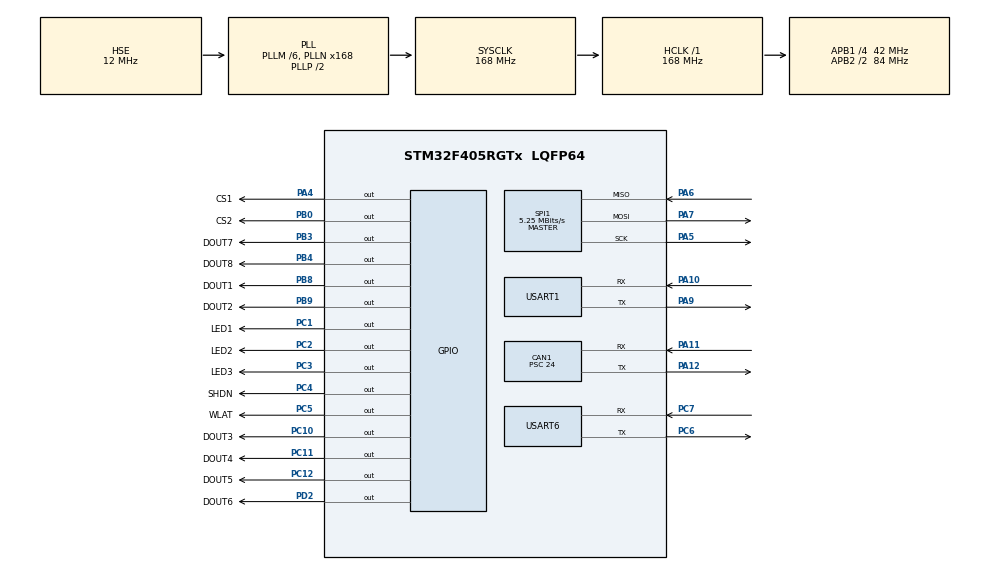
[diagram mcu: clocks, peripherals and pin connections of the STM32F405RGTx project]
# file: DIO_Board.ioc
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CAN1.BS2=CAN_BS2_2TQ
CAN1.CalculateTimeQuantum=571.4285714285714
CAN1.Prescaler=24
CAN1.SJW=CAN_SJW_4TQ
Mcu.Family=STM32F4
Mcu.Name=STM32F405RGTx
Mcu.Package=LQFP64
NVIC.CAN1_RX0_IRQn=true\:0\:0\:false\:false\:true\:true
NVIC.PriorityGroup=NVIC_PRIORITYGROUP_4
PA10.Mode=Asynchronous
PA10.Signal=USART1_RX
PA11.Mode=Master
PA11.Signal=CAN1_RX
PA12.Mode=Master
PA12.Signal=CAN1_TX
PA4.GPIO_Label=CS1
PA4.GPIO_ModeDefaultOutputPP=GPIO_MODE_OUTPUT_PP
PA4.GPIO_PuPd=GPIO_NOPULL
PA4.GPIO_Speed=GPIO_SPEED_FREQ_LOW
PA4.PinState=GPIO_PIN_RESET
PA4.Signal=GPIO_Output
PA5.Mode=Full_Duplex_Master
PA5.Signal=SPI1_SCK
PA6.Mode=Full_Duplex_Master
PA6.Signal=SPI1_MISO
PA7.Mode=Full_Duplex_Master
PA7.Signal=SPI1_MOSI
PA9.Mode=Asynchronous
PA9.Signal=USART1_TX
PB0.GPIO_Label=CS2
PB0.GPIO_ModeDefaultOutputPP=GPIO_MODE_OUTPUT_PP
PB0.GPIO_PuPd=GPIO_NOPULL
PB0.GPIO_Speed=GPIO_SPEED_FREQ_LOW
PB0.PinState=GPIO_PIN_RESET
PB0.Signal=GPIO_Output
PB3.GPIO_Label=DOUT7
PB3.GPIO_ModeDefaultOutputPP=GPIO_MODE_OUTPUT_PP
PB3.GPIO_PuPd=GPIO_NOPULL
PB3.GPIO_Speed=GPIO_SPEED_FREQ_LOW
PB3.PinState=GPIO_PIN_RESET
PB3.Signal=GPIO_Output
PB4.GPIO_Label=DOUT8
PB4.GPIO_ModeDefaultOutputPP=GPIO_MODE_OUTPUT_PP
PB4.GPIO_PuPd=GPIO_NOPULL
PB4.GPIO_Speed=GPIO_SPEED_FREQ_LOW
PB4.PinState=GPIO_PIN_RESET
PB4.Signal=GPIO_Output
PB8.GPIO_Label=DOUT1
PB8.GPIO_ModeDefaultOutputPP=GPIO_MODE_OUTPUT_PP
PB8.GPIO_PuPd=GPIO_NOPULL
PB8.GPIO_Speed=GPIO_SPEED_FREQ_LOW
PB8.PinState=GPIO_PIN_RESET
PB8.Signal=GPIO_Output
PB9.GPIO_Label=DOUT2
PB9.GPIO_ModeDefaultOutputPP=GPIO_MODE_OUTPUT_PP
PB9.GPIO_PuPd=GPIO_NOPULL
PB9.GPIO_Speed=GPIO_SPEED_FREQ_LOW
PB9.PinState=GPIO_PIN_RESET
PB9.Signal=GPIO_Output
PC1.GPIO_Label=LED1
PC1.GPIO_ModeDefaultOutputPP=GPIO_MODE_OUTPUT_PP
PC1.GPIO_PuPd=GPIO_NOPULL
PC1.GPIO_Speed=GPIO_SPEED_FREQ_LOW
PC1.PinState=GPIO_PIN_RESET
PC1.Signal=GPIO_Output
PC10.GPIO_Label=DOUT3
PC10.GPIO_ModeDefaultOutputPP=GPIO_MODE_OUTPUT_PP
PC10.GPIO_PuPd=GPIO_NOPULL
PC10.GPIO_Speed=GPIO_SPEED_FREQ_LOW
PC10.PinState=GPIO_PIN_RESET
PC10.Signal=GPIO_Output
PC11.GPIO_Label=DOUT4
PC11.GPIO_ModeDefaultOutputPP=GPIO_MODE_OUTPUT_PP
PC11.GPIO_PuPd=GPIO_NOPULL
PC11.GPIO_Speed=GPIO_SPEED_FREQ_LOW
PC11.PinState=GPIO_PIN_RESET
PC11.Signal=GPIO_Output
PC12.GPIO_Label=DOUT5
PC12.GPIO_ModeDefaultOutputPP=GPIO_MODE_OUTPUT_PP
PC12.GPIO_PuPd=GPIO_NOPULL
PC12.GPIO_Speed=GPIO_SPEED_FREQ_LOW
PC12.PinState=GPIO_PIN_RESET
PC12.Signal=GPIO_Output
PC2.GPIO_Label=LED2
PC2.GPIO_ModeDefaultOutputPP=GPIO_MODE_OUTPUT_PP
PC2.GPIO_PuPd=GPIO_NOPULL
PC2.GPIO_Speed=GPIO_SPEED_FREQ_LOW
PC2.PinState=GPIO_PIN_RESET
PC2.Signal=GPIO_Output
PC3.GPIO_Label=LED3
PC3.GPIO_ModeDefaultOutputPP=GPIO_MODE_OUTPUT_PP
PC3.GPIO_PuPd=GPIO_NOPULL
PC3.GPIO_Speed=GPIO_SPEED_FREQ_LOW
PC3.PinState=GPIO_PIN_RESET
PC3.Signal=GPIO_Output
PC4.GPIO_Label=SHDN
PC4.GPIO_ModeDefaultOutputPP=GPIO_MODE_OUTPUT_PP
PC4.GPIO_PuPd=GPIO_NOPULL
PC4.GPIO_Speed=GPIO_SPEED_FREQ_LOW
PC4.PinState=GPIO_PIN_RESET
PC4.Signal=GPIO_Output
PC5.GPIO_Label=WLAT
PC5.GPIO_ModeDefaultOutputPP=GPIO_MODE_OUTPUT_PP
PC5.GPIO_PuPd=GPIO_NOPULL
PC5.GPIO_Speed=GPIO_SPEED_FREQ_LOW
PC5.PinState=GPIO_PIN_RESET
PC5.Signal=GPIO_Output
PC6.Mode=Asynchronous
PC6.Signal=USART6_TX
PC7.Mode=Asynchronous
PC7.Signal=USART6_RX
PD2.GPIO_Label=DOUT6
PD2.GPIO_ModeDefaultOutputPP=GPIO_MODE_OUTPUT_PP
PD2.GPIO_PuPd=GPIO_NOPULL
PD2.GPIO_Speed=GPIO_SPEED_FREQ_LOW
PD2.PinState=GPIO_PIN_RESET
PD2.Signal=GPIO_Output
PH0-OSC_IN.Mode=HSE-External-Oscillator
PH0-OSC_IN.Signal=RCC_OSC_IN
PH1-OSC_OUT.Mode=HSE-External-Oscillator
PH1-OSC_OUT.Signal=RCC_OSC_OUT
ProjectManager.HeapSize=0x200
ProjectManager.StackSize=0x400
ProjectManager.TargetToolchain=EWARM V8
RCC.48MHZClocksFreq_Value=84000000
RCC.AHBFreq_Value=168000000
RCC.APB1CLKDivider=RCC_HCLK_DIV4
RCC.APB1Freq_Value=42000000
RCC.APB1TimFreq_Value=84000000
RCC.APB2CLKDivider=RCC_HCLK_DIV2
RCC.APB2Freq_Value=84000000
RCC.APB2TimFreq_Value=168000000
RCC.CortexFreq_Value=168000000
RCC.HCLKFreq_Value=168000000
RCC.HSE_VALUE=12000000
RCC.HSI_VALUE=16000000
RCC.LSE_VALUE=32768
RCC.PLLM=6
RCC.PLLN=168
RCC.PLLSourceVirtual=RCC_PLLSOURCE_HSE
RCC.SYSCLKFreq_VALUE=168000000
RCC.SYSCLKSource=RCC_SYSCLKSOURCE_PLLCLK
RCC.VCOOutputFreq_Value=336000000
SPI1.BaudRatePrescaler=SPI_BAUDRATEPRESCALER_16
SPI1.CalculateBaudRate=5.25 MBits/s
SPI1.Direction=SPI_DIRECTION_2LINES
SPI1.Mode=SPI_MODE_MASTER
SPI1.VirtualType=VM_MASTER
USART1.VirtualMode=VM_ASYNC
USART6.VirtualMode=VM_ASYNC
board=custom

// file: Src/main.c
/* USER CODE BEGIN Header */
/**
  ******************************************************************************
  * @file           : main.c
  * @brief          : Main program body
  ******************************************************************************
  ** This notice applies to any and all portions of this file
  * that are not between comment pairs USER CODE BEGIN and
  * USER CODE END. Other portions of this file, whether
  * inserted by the user or by software development tools
  * are owned by their respective copyright owners.
  *
  * COPYRIGHT(c) 2018 STMicroelectronics
  *
  * Redistribution and use in source and binary forms, with or without modification,
  * are permitted provided that the following conditions are met:
  *   1. Redistributions of source code must retain the above copyright notice,
  *      this list of conditions and the following disclaimer.
  *   2. Redistributions in binary form must reproduce the above copyright notice,
  *      this list of conditions and the following disclaimer in the documentation
  *      and/or other materials provided with the distribution.
  *   3. Neither the name of STMicroelectronics nor the names of its contributors
  *      may be used to endorse or promote products derived from this software
  *      without specific prior written permission.
  *
  * THIS SOFTWARE IS PROVIDED BY THE COPYRIGHT HOLDERS AND CONTRIBUTORS "AS IS"
  * AND ANY EXPRESS OR IMPLIED WARRANTIES, INCLUDING, BUT NOT LIMITED TO, THE
  * IMPLIED WARRANTIES OF MERCHANTABILITY AND FITNESS FOR A PARTICULAR PURPOSE ARE
  * DISCLAIMED. IN NO EVENT SHALL THE COPYRIGHT HOLDER OR CONTRIBUTORS BE LIABLE
  * FOR ANY DIRECT, INDIRECT, INCIDENTAL, SPECIAL, EXEMPLARY, OR CONSEQUENTIAL
  * DAMAGES (INCLUDING, BUT NOT LIMITED TO, PROCUREMENT OF SUBSTITUTE GOODS OR
  * SERVICES; LOSS OF USE, DATA, OR PROFITS; OR BUSINESS INTERRUPTION) HOWEVER
  * CAUSED AND ON ANY THEORY OF LIABILITY, WHETHER IN CONTRACT, STRICT LIABILITY,
  * OR TORT (INCLUDING NEGLIGENCE OR OTHERWISE) ARISING IN ANY WAY OUT OF THE USE
  * OF THIS SOFTWARE, EVEN IF ADVISED OF THE POSSIBILITY OF SUCH DAMAGE.
  *
  ******************************************************************************
  */
/* USER CODE END Header */

#include "main.h"

/* USER CODE BEGIN PTD */
enum _eENGINE_PROCESS {
	EGNP_NONE,
	EGNP_ACC,
	EGNP_WAIT1S,
	EGNP_AFTER_ON,
	EGNP_ON,
	EGNP_START,
	EGNP_AFTER_START,
	EGNP_MAX
};
/* USER CODE END PTD */

//#define USE_ENGINE_START
//#define USE_REMOTE_AUTECH

/* USER CODE BEGIN PD */
#define CANDRV_RX_BUF_CNT					20
#define DIO1_ON 				HAL_GPIO_WritePin(DOUT1_GPIO_Port,DOUT1_Pin,GPIO_PIN_SET);
#define DIO1_OFF 			HAL_GPIO_WritePin(DOUT1_GPIO_Port,DOUT1_Pin,GPIO_PIN_RESET);
#define DIO2_ON 				HAL_GPIO_WritePin(DOUT2_GPIO_Port,DOUT2_Pin,GPIO_PIN_SET);
#define DIO2_OFF 			HAL_GPIO_WritePin(DOUT2_GPIO_Port,DOUT2_Pin,GPIO_PIN_RESET);
#define DIO3_ON 				HAL_GPIO_WritePin(DOUT3_GPIO_Port,DOUT3_Pin,GPIO_PIN_SET);
#define DIO3_OFF 			HAL_GPIO_WritePin(DOUT3_GPIO_Port,DOUT3_Pin,GPIO_PIN_RESET);
#define DIO4_ON 				HAL_GPIO_WritePin(DOUT4_GPIO_Port,DOUT4_Pin,GPIO_PIN_SET);
#define DIO4_OFF 			HAL_GPIO_WritePin(DOUT4_GPIO_Port,DOUT4_Pin,GPIO_PIN_RESET);
#define DIO5_ON 				HAL_GPIO_WritePin(DOUT5_GPIO_Port,DOUT5_Pin,GPIO_PIN_SET);
#define DIO5_OFF 			HAL_GPIO_WritePin(DOUT5_GPIO_Port,DOUT5_Pin,GPIO_PIN_RESET);
#define DIO6_ON 				HAL_GPIO_WritePin(DOUT6_GPIO_Port,DOUT6_Pin,GPIO_PIN_SET);
#define DIO6_OFF 			HAL_GPIO_WritePin(DOUT6_GPIO_Port,DOUT6_Pin,GPIO_PIN_RESET);
#define DIO7_ON 				HAL_GPIO_WritePin(DOUT7_GPIO_Port,DOUT7_Pin,GPIO_PIN_SET);
#define DIO7_OFF 			HAL_GPIO_WritePin(DOUT7_GPIO_Port,DOUT7_Pin,GPIO_PIN_RESET);
#define DIO8_ON 				HAL_GPIO_WritePin(DOUT8_GPIO_Port,DOUT8_Pin,GPIO_PIN_SET);
#define DIO8_OFF 			HAL_GPIO_WritePin(DOUT8_GPIO_Port,DOUT8_Pin,GPIO_PIN_RESET);
//
#define LED_RED_OFF			HAL_GPIO_WritePin(LED3_GPIO_Port, LED3_Pin, GPIO_PIN_SET);
#define LED_RED_ON			HAL_GPIO_WritePin(LED3_GPIO_Port, LED3_Pin, GPIO_PIN_RESET);
#define LED_RED_TOG			HAL_GPIO_TogglePin(LED3_GPIO_Port, LED3_Pin);
#define LED_GREEN_OFF		HAL_GPIO_WritePin(LED1_GPIO_Port, LED1_Pin, GPIO_PIN_RESET);
#define LED_GREEN_ON		HAL_GPIO_WritePin(LED1_GPIO_Port, LED1_Pin, GPIO_PIN_SET);
#define LED_GREEN_TOG		HAL_GPIO_TogglePin(LED1_GPIO_Port, LED1_Pin);
#define LED_ORANGE_OFF		HAL_GPIO_WritePin(LED2_GPIO_Port, LED2_Pin, GPIO_PIN_RESET);
#define LED_ORANGE_ON		HAL_GPIO_WritePin(LED2_GPIO_Port, LED2_Pin, GPIO_PIN_SET);
#define LED_ORANGE_TOG		HAL_GPIO_TogglePin(LED2_GPIO_Port, LED2_Pin);

#define SID_R_REMOTE			0x18A
//

//#define _3STEP_TOGGLE_UP_SW_MASK			0x10
#define _3STEP_TOGGLE_UP_SW_MASK        0x08    // shjang
#define SAFETY_BAR_ON_MASK      		0x08

#define KEY_IN_MASK     				0x10    //shajng, for A
#define KEY_ACC_MASK   		 			0x20 // shjang, for B
#define KEY_ON_MASK  					0x40    // shjang, for C
#define KEY_IGNITION_MASK      			0x80    // shjang, for D

#define SW_S__ON_MASK					0x08	//pedal sw
#define SW_UP_ON_MASK					0x02	//horn
#define SW_DN_ON_MASK					0x04	//declation

//#define _2STEP_TOGGLE_UP_SW_MASK			0x40
//#define RIGHT_SIDE_PUSH_FR_SW_MASK		0x80

//#define RIGHT_SIDE_PUSH_RR_SW_MASK		0x04

/* USER CODE END PD */

CAN_HandleTypeDef hcan1;

SPI_HandleTypeDef hspi1;

UART_HandleTypeDef huart1;
UART_HandleTypeDef huart6;

void SystemClock_Config(void);
static void MX_GPIO_Init(void);
static void MX_CAN1_Init(void);
static void MX_USART1_UART_Init(void);
static void MX_USART6_UART_Init(void);
static void MX_SPI1_Init(void);
/* USER CODE BEGIN PFP */
void MCP41HV51_Control(uint8_t CH, uint8_t Value);
void MCP41HV51_DIO_Initialization(void);
void SPI1_CS1_Enable(void);
void SPI1_CS1_Disable(void);
void SPI1_CS2_Enable(void);
void SPI1_CS2_Disable(void);
void CAN1Tx(long cid, unsigned int txbyte, uint8_t * cdata);
/* USER CODE END PFP */

/* USER CODE BEGIN 0 */
//CAN_RxHeaderTypeDef	can1RxHeader;
//CAN_TxHeaderTypeDef	can1TxHeader;
//uint8_t	can1Rx0Data[8];
//uint32_t	can1TxMailBox;
//uint8_t	can1Tx0Data[8];
//uint8_t	Can1TxMsgBuff[8] = NULL;
volatile uint8_t	can1_rx0_flag = 0;
uint8_t spi_address;
struct _tagCAN_INFO {
	struct {
		CAN_RxHeaderTypeDef	header;
		uint8_t	data[8];
	}rx[CANDRV_RX_BUF_CNT];
	uint8_t rxHead;
	uint8_t rxTail;
	struct {
		CAN_TxHeaderTypeDef	header;
		uint8_t	data[8];
		uint8_t	msgBuff[8];
	}tx;
	uint32_t	TxMailBox;
}CANInfo;

struct _tagENGINE_PROCESS_INFO {
	uint8_t step;
	uint32_t onCnt;
	uint32_t time;
	uint8_t status;
}EgnInfo, AttInfo;
struct _tagPOTENTIONMETER_INFO {
	uint8_t step;
	uint32_t delayCnt;
}PtrMtrInfo;
uint32_t LED_RunCnt;

void CANDrv_Init(void)
{
	CAN_FilterTypeDef	canFilter1;

	// CAN1 Filter 설정
	canFilter1.FilterMaskIdHigh = 0x0000;
	canFilter1.FilterIdHigh = 0x00;
	canFilter1.FilterMaskIdLow = 0x0000;
	canFilter1.FilterIdLow = 0x00;
	canFilter1.FilterMode = CAN_FILTERMODE_IDMASK;
	canFilter1.FilterScale = CAN_FILTERSCALE_16BIT;
	canFilter1.FilterFIFOAssignment = CAN_FILTER_FIFO0;
	canFilter1.FilterBank = 0;
	canFilter1.FilterActivation = ENABLE;

	// CAN1 초기화
	HAL_CAN_ConfigFilter(&hcan1, &canFilter1);
	HAL_CAN_ActivateNotification(&hcan1, CAN_IT_RX_FIFO0_MSG_PENDING);
	HAL_CAN_Start(&hcan1);
 }

void Engine_Control(uint8_t data)
{
	if ( (data & 0xF0) > 0)  // status B, C, D
    {
          if (data&KEY_IN_MASK) {
              DIO1_OFF; //key acc
              DIO2_OFF; //key on
              DIO3_OFF; //key ignition
              EgnInfo.step = EGNP_NONE;
              EgnInfo.status = EGNP_NONE;
              AttInfo.status = EGNP_NONE;
          }
          if (data&KEY_ACC_MASK) {
              DIO1_ON; //key acc
              DIO2_OFF; //key on
              DIO3_OFF; //key ignition
              EgnInfo.status = EGNP_ACC;
          }
          if (data&KEY_ON_MASK) {
              DIO1_ON; //key acc
              DIO2_ON; //key on
              DIO3_OFF; //key ignition
              EgnInfo.status = EGNP_ON;
          }
          if (data&KEY_IGNITION_MASK && !(data&SAFETY_BAR_ON_MASK)) {
              DIO1_ON; //key acc
              DIO2_ON; //key on
              DIO3_ON; //key ignition
              EgnInfo.status = EGNP_START;
              EgnInfo.step = EGNP_START;
          }
    }

	//side bar
	if (data&SAFETY_BAR_ON_MASK) {
		DIO4_ON;
	}
	else {
		DIO4_OFF;
	}

    //3way Toggle check
    if (data&0x02) { // UP
    	if (EgnInfo.status == EGNP_START) {
        	AttInfo.status = EGNP_ON;
    	}
    }
}

void DIO_Control(uint8_t data)
{
#if 0
    if (data&SAFETY_BAR_ON_MASK) {
		DIO4_ON;
    }
	else {
		DIO4_OFF;
	}
#endif

    if (data&SW_UP_ON_MASK) {
		DIO5_ON;
    }
	else {
		DIO5_OFF;
	}

    if (data&SW_DN_ON_MASK) {
		DIO6_ON;
    }
	else {
		DIO6_OFF;
	}

    if (data&SW_S__ON_MASK) {
		DIO7_ON;
    }
	else {
		DIO7_OFF;
	}
}

//potentionmeter
void PtnMtr_Control(uint8_t data)
{
	/* if (data&RIGHT_SIDE_PUSH_RR_SW_MASK) {
		if (PtrMtrInfo.step < 0xcc) {
			PtrMtrInfo.step += 10;
			if (PtrMtrInfo.step > 0xcc) PtrMtrInfo.step = 0xcc;
			MCP41HV51_Control(1, PtrMtrInfo.step);                 // 0x00 ~ 0xff값을 입력
		}
		//MCP41HV51_Control(2,can1Rx0Data[1]);
	}
	else {
		if (PtrMtrInfo.step > 0x7f) {
			PtrMtrInfo.step -= 10;
			if (PtrMtrInfo.step < 0x7f) PtrMtrInfo.step = 0x7f;
			MCP41HV51_Control(1, PtrMtrInfo.step);                // 0x00 ~ 0xff값을 입력
		}
	}*/

  	// Data in : 0x0~0x50
  	//if (AttInfo.step == EGNP_ON) {
	    if (data > 0x21 && data < 0x2D) {
	    	PtrMtrInfo.step =  0x80; //128
	    }
	    else {
	    	//PtrMtrInfo.step =  (uint8_t)((float)data * 255. / 0x50);  // scale to 0~0xFF
	    	//PtrMtrInfo.step =  (uint8_t)((data * 204) / 80);  // scale to 0~0xFF //80��� 由щえ肄섏쓽 蹂쇰ⅷ 踰붿쐞媛� 80�떒怨�
			PtrMtrInfo.step =  (uint8_t)((data * 155) / 80)+50;  // scale to 0~0xFF
	    }

	    MCP41HV51_Control(1, PtrMtrInfo.step);                // 0x00 ~ 0xff값을 입력
  //}

}

void System_Init(void)
{
	int i;
	char *p;

	p = (char *)&PtrMtrInfo;
	for (i = 0; i < sizeof(struct _tagPOTENTIONMETER_INFO); i++) p[i] = 0;
	p = (char *)&EgnInfo;
	for (i = 0; i < sizeof(struct _tagENGINE_PROCESS_INFO); i++) p[i] = 0;
	EgnInfo.step = EGNP_NONE;
	CANInfo.rxHead = CANInfo.rxTail = 0;
	PtrMtrInfo.step = 0x7f;
	LED_RunCnt = 0;
	LED_RED_OFF;
}
/* USER CODE END 0 */

int main(void)
{

  /* MCU Configuration--------------------------------------------------------*/

  /* Reset of all peripherals, Initializes the Flash interface and the Systick. */
  HAL_Init();

  /* Configure the system clock */
  SystemClock_Config();

  /* Initialize all configured peripherals */
  MX_GPIO_Init();
  MX_CAN1_Init();
  MX_USART1_UART_Init();
  MX_USART6_UART_Init();
  MX_SPI1_Init();
  /* USER CODE BEGIN 2 */
  CANDrv_Init();
  MCP41HV51_DIO_Initialization();
  System_Init();

  EgnInfo.step = EGNP_NONE;
  EgnInfo.status = EGNP_NONE;
  AttInfo.status = EGNP_NONE;
  AttInfo.step = EGNP_NONE;

  /* USER CODE END 2 */

  /* Infinite loop */
  while (1)
  {

    /* USER CODE BEGIN 3 */
#if 0
	if(can1_rx0_flag == 1){
		can1_rx0_flag = 0;
		if(can1RxHeader.StdId == 0x18A){		                        //0x18A
			MCP41HV51_Control(1,can1Rx0Data[0]);                                // 0x00 ~ 0xff값을 입력
			MCP41HV51_Control(2,can1Rx0Data[1]);

			if(can1Rx0Data[2] == 1){
				HAL_GPIO_WritePin(DOUT1_GPIO_Port,DOUT1_Pin,GPIO_PIN_RESET);
			}
			else{
				HAL_GPIO_WritePin(DOUT1_GPIO_Port,DOUT1_Pin,GPIO_PIN_SET);
			}
		}
		HAL_GPIO_TogglePin(LED1_GPIO_Port,LED1_Pin);
		HAL_Delay(100);
	}
#else
	//if(CANInfo.rxHead != CANInfo.rxTail) {
	if (can1_rx0_flag == 1) {
		can1_rx0_flag = 0;
		if (CANInfo.rx[CANInfo.rxHead].header.StdId == SID_R_REMOTE){
#ifdef USE_ENGINE_START
			Engine_Control(CANInfo.rx[CANInfo.rxHead].data[2]);
#endif
			DIO_Control(CANInfo.rx[CANInfo.rxHead].data[2]); //pjg++210203
#ifdef USE_REMOTE_AUTECH
			//PtnMtr_Control(CANInfo.rx[CANInfo.rxHead].data[2]);
#else
            PtnMtr_Control(CANInfo.rx[CANInfo.rxHead].data[4]); // shjang
#endif
			LED_ORANGE_TOG;
		}
		//CANInfo.rxTail++;
		//if (CANInfo.rxTail >= CANDRV_RX_BUF_CNT) CANInfo.rxTail = 0;
	}
	if (LED_RunCnt++ > 2000000) {
		LED_GREEN_TOG;
		LED_RunCnt = 0;
	}
#endif
  }
  /* USER CODE END 3 */
}

void SystemClock_Config(void)
{
  RCC_OscInitTypeDef RCC_OscInitStruct = {0};
  RCC_ClkInitTypeDef RCC_ClkInitStruct = {0};

  /**Configure the main internal regulator output voltage
  */
  __HAL_RCC_PWR_CLK_ENABLE();
  __HAL_PWR_VOLTAGESCALING_CONFIG(PWR_REGULATOR_VOLTAGE_SCALE1);
  /**Initializes the CPU, AHB and APB busses clocks
  */
  RCC_OscInitStruct.OscillatorType = RCC_OSCILLATORTYPE_HSE;
  RCC_OscInitStruct.HSEState = RCC_HSE_ON;
  RCC_OscInitStruct.PLL.PLLState = RCC_PLL_ON;
  RCC_OscInitStruct.PLL.PLLSource = RCC_PLLSOURCE_HSE;
  RCC_OscInitStruct.PLL.PLLM = 6;
  RCC_OscInitStruct.PLL.PLLN = 168;
  RCC_OscInitStruct.PLL.PLLP = RCC_PLLP_DIV2;
  RCC_OscInitStruct.PLL.PLLQ = 4;
  if (HAL_RCC_OscConfig(&RCC_OscInitStruct) != HAL_OK)
  {
    Error_Handler();
  }
  /**Initializes the CPU, AHB and APB busses clocks
  */
  RCC_ClkInitStruct.ClockType = RCC_CLOCKTYPE_HCLK|RCC_CLOCKTYPE_SYSCLK
                              |RCC_CLOCKTYPE_PCLK1|RCC_CLOCKTYPE_PCLK2;
  RCC_ClkInitStruct.SYSCLKSource = RCC_SYSCLKSOURCE_PLLCLK;
  RCC_ClkInitStruct.AHBCLKDivider = RCC_SYSCLK_DIV1;
  RCC_ClkInitStruct.APB1CLKDivider = RCC_HCLK_DIV4;
  RCC_ClkInitStruct.APB2CLKDivider = RCC_HCLK_DIV2;

  if (HAL_RCC_ClockConfig(&RCC_ClkInitStruct, FLASH_LATENCY_5) != HAL_OK)
  {
    Error_Handler();
  }
}

static void MX_CAN1_Init(void)
{

  hcan1.Instance = CAN1;
  hcan1.Init.Prescaler = 24;
  hcan1.Init.Mode = CAN_MODE_NORMAL;
  hcan1.Init.SyncJumpWidth = CAN_SJW_1TQ;//4TQ;
  hcan1.Init.TimeSeg1 = CAN_BS1_2TQ;//1TQ;
  hcan1.Init.TimeSeg2 = CAN_BS2_4TQ;//2TQ;
  hcan1.Init.TimeTriggeredMode = DISABLE;
  hcan1.Init.AutoBusOff = DISABLE;
  hcan1.Init.AutoWakeUp = DISABLE;
  hcan1.Init.AutoRetransmission = DISABLE;
  hcan1.Init.ReceiveFifoLocked = DISABLE;
  hcan1.Init.TransmitFifoPriority = DISABLE;
  if (HAL_CAN_Init(&hcan1) != HAL_OK)
  {
    Error_Handler();
  }

}

static void MX_SPI1_Init(void)
{

  /* SPI1 parameter configuration*/
  hspi1.Instance = SPI1;
  hspi1.Init.Mode = SPI_MODE_MASTER;
  hspi1.Init.Direction = SPI_DIRECTION_2LINES;
  hspi1.Init.DataSize = SPI_DATASIZE_8BIT;
  hspi1.Init.CLKPolarity = SPI_POLARITY_LOW;
  hspi1.Init.CLKPhase = SPI_PHASE_1EDGE;
  hspi1.Init.NSS = SPI_NSS_SOFT;
  hspi1.Init.BaudRatePrescaler = SPI_BAUDRATEPRESCALER_16;
  hspi1.Init.FirstBit = SPI_FIRSTBIT_MSB;
  hspi1.Init.TIMode = SPI_TIMODE_DISABLE;
  hspi1.Init.CRCCalculation = SPI_CRCCALCULATION_DISABLE;
  hspi1.Init.CRCPolynomial = 10;
  if (HAL_SPI_Init(&hspi1) != HAL_OK)
  {
    Error_Handler();
  }

}

static void MX_USART1_UART_Init(void)
{

  huart1.Instance = USART1;
  huart1.Init.BaudRate = 115200;
  huart1.Init.WordLength = UART_WORDLENGTH_8B;
  huart1.Init.StopBits = UART_STOPBITS_1;
  huart1.Init.Parity = UART_PARITY_NONE;
  huart1.Init.Mode = UART_MODE_TX_RX;
  huart1.Init.HwFlowCtl = UART_HWCONTROL_NONE;
  huart1.Init.OverSampling = UART_OVERSAMPLING_16;
  if (HAL_UART_Init(&huart1) != HAL_OK)
  {
    Error_Handler();
  }

}

static void MX_USART6_UART_Init(void)
{

  huart6.Instance = USART6;
  huart6.Init.BaudRate = 115200;
  huart6.Init.WordLength = UART_WORDLENGTH_8B;
  huart6.Init.StopBits = UART_STOPBITS_1;
  huart6.Init.Parity = UART_PARITY_NONE;
  huart6.Init.Mode = UART_MODE_TX_RX;
  huart6.Init.HwFlowCtl = UART_HWCONTROL_NONE;
  huart6.Init.OverSampling = UART_OVERSAMPLING_16;
  if (HAL_UART_Init(&huart6) != HAL_OK)
  {
    Error_Handler();
  }

}

static void MX_GPIO_Init(void)
{
  GPIO_InitTypeDef GPIO_InitStruct = {0};

  /* GPIO Ports Clock Enable */
  __HAL_RCC_GPIOH_CLK_ENABLE();
  __HAL_RCC_GPIOC_CLK_ENABLE();
  __HAL_RCC_GPIOA_CLK_ENABLE();
  __HAL_RCC_GPIOB_CLK_ENABLE();
  __HAL_RCC_GPIOD_CLK_ENABLE();

  /*Configure GPIO pin Output Level */
  HAL_GPIO_WritePin(GPIOC, LED1_Pin|LED2_Pin|LED3_Pin|SHDN_Pin
                          |WLAT_Pin|DOUT3_Pin|DOUT4_Pin|DOUT5_Pin, GPIO_PIN_RESET);

  /*Configure GPIO pin Output Level */
  HAL_GPIO_WritePin(CS1_GPIO_Port, CS1_Pin, GPIO_PIN_RESET);

  /*Configure GPIO pin Output Level */
  HAL_GPIO_WritePin(GPIOB, CS2_Pin|DOUT7_Pin|DOUT8_Pin|DOUT1_Pin
                          |DOUT2_Pin, GPIO_PIN_RESET);

  /*Configure GPIO pin Output Level */
  HAL_GPIO_WritePin(DOUT6_GPIO_Port, DOUT6_Pin, GPIO_PIN_RESET);

  /*Configure GPIO pins : LED1_Pin LED2_Pin LED3_Pin SHDN_Pin
                           WLAT_Pin DOUT3_Pin DOUT4_Pin DOUT5_Pin */
  GPIO_InitStruct.Pin = LED1_Pin|LED2_Pin|LED3_Pin|SHDN_Pin
                          |WLAT_Pin|DOUT3_Pin|DOUT4_Pin|DOUT5_Pin;
  GPIO_InitStruct.Mode = GPIO_MODE_OUTPUT_PP;
  GPIO_InitStruct.Pull = GPIO_NOPULL;
  GPIO_InitStruct.Speed = GPIO_SPEED_FREQ_LOW;
  HAL_GPIO_Init(GPIOC, &GPIO_InitStruct);

  /*Configure GPIO pin : CS1_Pin */
  GPIO_InitStruct.Pin = CS1_Pin;
  GPIO_InitStruct.Mode = GPIO_MODE_OUTPUT_PP;
  GPIO_InitStruct.Pull = GPIO_NOPULL;
  GPIO_InitStruct.Speed = GPIO_SPEED_FREQ_LOW;
  HAL_GPIO_Init(CS1_GPIO_Port, &GPIO_InitStruct);

  /*Configure GPIO pins : CS2_Pin DOUT7_Pin DOUT8_Pin DOUT1_Pin
                           DOUT2_Pin */
  GPIO_InitStruct.Pin = CS2_Pin|DOUT7_Pin|DOUT8_Pin|DOUT1_Pin
                          |DOUT2_Pin;
  GPIO_InitStruct.Mode = GPIO_MODE_OUTPUT_PP;
  GPIO_InitStruct.Pull = GPIO_NOPULL;
  GPIO_InitStruct.Speed = GPIO_SPEED_FREQ_LOW;
  HAL_GPIO_Init(GPIOB, &GPIO_InitStruct);

  /*Configure GPIO pin : DOUT6_Pin */
  GPIO_InitStruct.Pin = DOUT6_Pin;
  GPIO_InitStruct.Mode = GPIO_MODE_OUTPUT_PP;
  GPIO_InitStruct.Pull = GPIO_NOPULL;
  GPIO_InitStruct.Speed = GPIO_SPEED_FREQ_LOW;
  HAL_GPIO_Init(DOUT6_GPIO_Port, &GPIO_InitStruct);

}

/* USER CODE BEGIN 4 */
//------------------------------------------------------------------------------
void MCP41HV51_Control(uint8_t CH, uint8_t Value)
{
  if(CH == 1){
      SPI1_CS1_Enable();
      HAL_GPIO_WritePin(WLAT_GPIO_Port, WLAT_Pin, GPIO_PIN_RESET);
      spi_address = 0x00;
      HAL_SPI_Transmit(&hspi1, &spi_address, sizeof(spi_address), 0x1000);
      spi_address = Value;
      HAL_SPI_Transmit(&hspi1, &spi_address, sizeof(spi_address), 0x1000);
      HAL_GPIO_WritePin(WLAT_GPIO_Port, WLAT_Pin, GPIO_PIN_SET);
      SPI1_CS1_Disable();
  }
  else if(CH == 2){
      SPI1_CS2_Enable();
      HAL_GPIO_WritePin(WLAT_GPIO_Port, WLAT_Pin, GPIO_PIN_RESET);
      spi_address = 0x00;
      HAL_SPI_Transmit(&hspi1, &spi_address, sizeof(spi_address), 0x1000);
      spi_address = Value;
      HAL_SPI_Transmit(&hspi1, &spi_address, sizeof(spi_address), 0x1000);
      HAL_GPIO_WritePin(WLAT_GPIO_Port, WLAT_Pin, GPIO_PIN_SET);
      SPI1_CS2_Disable();

  }
}
//------------------------------------------------------------------------------
void MCP41HV51_DIO_Initialization(void)
{
  HAL_GPIO_WritePin(DOUT1_GPIO_Port,DOUT1_Pin,GPIO_PIN_RESET);
  HAL_GPIO_WritePin(DOUT2_GPIO_Port,DOUT2_Pin,GPIO_PIN_RESET);
  HAL_GPIO_WritePin(DOUT3_GPIO_Port,DOUT3_Pin,GPIO_PIN_RESET);
  HAL_GPIO_WritePin(DOUT4_GPIO_Port,DOUT4_Pin,GPIO_PIN_RESET);
  HAL_GPIO_WritePin(DOUT5_GPIO_Port,DOUT5_Pin,GPIO_PIN_RESET);
  HAL_GPIO_WritePin(DOUT6_GPIO_Port,DOUT6_Pin,GPIO_PIN_RESET);
  HAL_GPIO_WritePin(DOUT7_GPIO_Port,DOUT7_Pin,GPIO_PIN_RESET);
  HAL_GPIO_WritePin(DOUT8_GPIO_Port,DOUT8_Pin,GPIO_PIN_RESET);

  HAL_GPIO_WritePin(CS1_GPIO_Port,CS1_Pin,GPIO_PIN_SET);
  HAL_GPIO_WritePin(CS2_GPIO_Port,CS2_Pin,GPIO_PIN_SET);
  HAL_GPIO_WritePin(SHDN_GPIO_Port,SHDN_Pin,GPIO_PIN_SET);
  HAL_GPIO_WritePin(WLAT_GPIO_Port, WLAT_Pin, GPIO_PIN_SET);

  SPI1_CS1_Enable();
  HAL_GPIO_WritePin(WLAT_GPIO_Port, WLAT_Pin, GPIO_PIN_RESET);
  spi_address = 0x00;
  HAL_SPI_Transmit(&hspi1, &spi_address, sizeof(spi_address), 0x1000);
  spi_address = 0x7F;
  HAL_SPI_Transmit(&hspi1, &spi_address, sizeof(spi_address), 0x1000);
  HAL_GPIO_WritePin(WLAT_GPIO_Port, WLAT_Pin, GPIO_PIN_SET);
  SPI1_CS1_Disable();

  SPI1_CS2_Enable();
  HAL_GPIO_WritePin(WLAT_GPIO_Port, WLAT_Pin, GPIO_PIN_RESET);
  spi_address = 0x00;
  HAL_SPI_Transmit(&hspi1, &spi_address, sizeof(spi_address), 0x1000);
  spi_address = 0x7F;
  HAL_SPI_Transmit(&hspi1, &spi_address, sizeof(spi_address), 0x1000);
  HAL_GPIO_WritePin(WLAT_GPIO_Port, WLAT_Pin, GPIO_PIN_SET);
  SPI1_CS2_Disable();

}
//------------------------------------------------------------------------------
void SPI1_CS1_Enable(void)
{
      HAL_GPIO_WritePin(CS1_GPIO_Port, CS1_Pin, GPIO_PIN_RESET);
}
//------------------------------------------------------------------------------
void SPI1_CS1_Disable(void)
{
      HAL_GPIO_WritePin(CS1_GPIO_Port, CS1_Pin, GPIO_PIN_SET);
}
//------------------------------------------------------------------------------
void SPI1_CS2_Enable(void)
{
      HAL_GPIO_WritePin(CS2_GPIO_Port, CS2_Pin, GPIO_PIN_RESET);
}
//------------------------------------------------------------------------------
void SPI1_CS2_Disable(void)
{
      HAL_GPIO_WritePin(CS2_GPIO_Port, CS2_Pin, GPIO_PIN_SET);
}
//------------------------------------------------------------------------------
// CAN RCV Interrupt Callback Function
uint8_t vr;
void HAL_CAN_RxFifo0MsgPendingCallback(CAN_HandleTypeDef *hcan){

    if(hcan->Instance == CAN1){
        /* Release RX FIFO 0 */
        //HAL_CAN_GetRxMessage(&hcan1, CAN_RX_FIFO0, &can1RxHeader, &can1Rx0Data[0]);
        HAL_CAN_GetRxMessage(&hcan1, CAN_RX_FIFO0,
        		&CANInfo.rx[CANInfo.rxHead].header, &CANInfo.rx[CANInfo.rxHead].data[0]);
        can1_rx0_flag = 1;
		vr = CANInfo.rx[CANInfo.rxHead].data[4];
        //CANInfo.rxHead++;
	 //if (CANInfo.rxHead >= CANDRV_RX_BUF_CNT) CANInfo.rxHead = 0;
    }
}
//------------------------------------------------------------------------------
/* USER CODE END 4 */

void Error_Handler(void)
{
}

/************************ (C) COPYRIGHT STMicroelectronics *****END OF FILE****/
